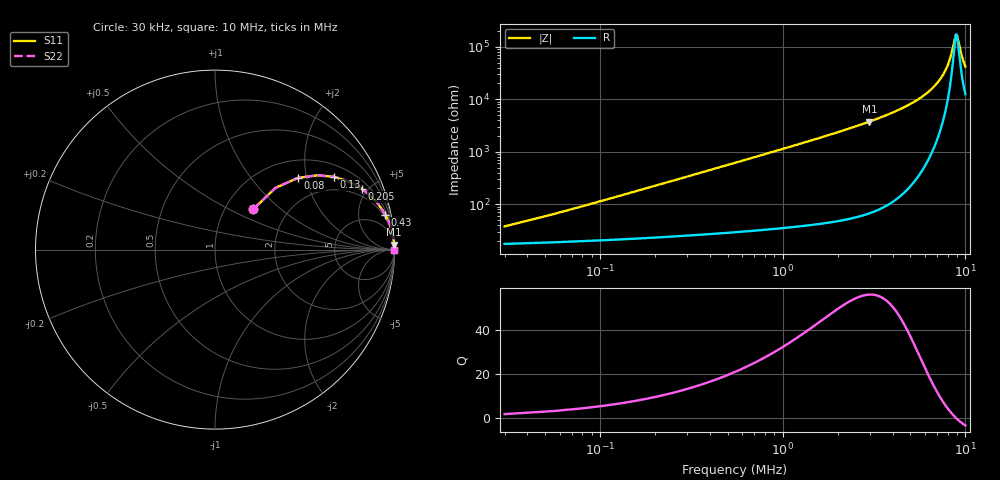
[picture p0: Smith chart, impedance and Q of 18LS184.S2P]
! Coilcraft 1812LS-184 Chip Inductor
! 8 August 2002
# MHZ S MA R 50
!Freq  MagS11  AngS11  MagS21  AngS21  MagS12  AngS12  MagS22  AngS22
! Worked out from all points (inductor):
!   400 points, 30 kHz to 10 MHz, reference 50 ohm
!   read as one part in series: L = 178 uH near 80 kHz
!   highest Q = 56 at 2.98 MHz (marker M1), where L = 200 uH
!   self-resonance near 8.905 MHz
!   S11 on the Smith chart (normalised r, x): 30 kHz: 1.35, +0.67; 80 kHz: 1.40, +1.79; 130 kHz: 1.43, +2.91; 205 kHz: 1.47, +4.59; 430 kHz: 1.55, +9.64; 10 MHz: open
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0.03  0.3098 46.5  0.818 -15.9  0.818 -15.9  0.3098 46.5
0.055  0.4808 45.6  0.7474 -27.4  0.7474 -27.4  0.4808 45.6
0.08  0.6129 40.8  0.6688 -36.8  0.6688 -36.8  0.6129 40.8
0.13  0.7759 31.5  0.5279 -50.1  0.5279 -50.1  0.7759 31.5
0.205  0.8854 22.5  0.384 -61.7  0.384 -61.7  0.8854 22.5
0.305  0.9413 15.9  0.2749 -69.8  0.2749 -69.8  0.9413 15.9
0.43  0.9683 11.6  0.2006 -75.2  0.2006 -75.2  0.9683 11.6
0.655  0.9855 7.7  0.1337 -79.9  0.1337 -79.9  0.9855 7.7
0.93  0.9925 5.4  0.09433 -82.7  0.09433 -82.7  0.9925 5.4
1.705  0.9976 2.9  0.05039 -85.9  0.05039 -85.9  0.9976 2.9
2.98  0.9992 1.5  0.02663 -87.5  0.02663 -87.5  0.9992 1.5
3.355  0.9993 1.3  0.02286 -87.7  0.02286 -87.7  0.9993 1.3
5.03  0.9996 0.7  0.01212 -87.7  0.01212 -87.7  0.9996 0.7
6.68  0.9996 0.3  0.005893 -85.9  0.005893 -85.9  0.9996 0.3
7.68  0.9995 0.2  0.003055 -81.1  0.003055 -81.1  0.9995 0.2
8.055  0.9995 0.1  0.002118 -76.3  0.002118 -76.3  0.9995 0.1
8.355  0.9995 0.1  0.001426 -68.4  0.001426 -68.4  0.9995 0.1
8.78  0.9994 0.0  0.0006576 -30.5  0.0006576 -30.5  0.9994 0.0
8.93  0.9994 -0.0  0.0005821 0.4  0.0005821 0.4  0.9994 -0.0
9.055  0.9994 -0.0  0.0006587 25.3  0.0006587 25.3  0.9994 -0.0
9.53  0.9994 -0.1  0.001455 63.4  0.001455 63.4  0.9994 -0.1
10  0.9993 -0.1  0.002373 72.6  0.002373 72.6  0.9993 -0.1
